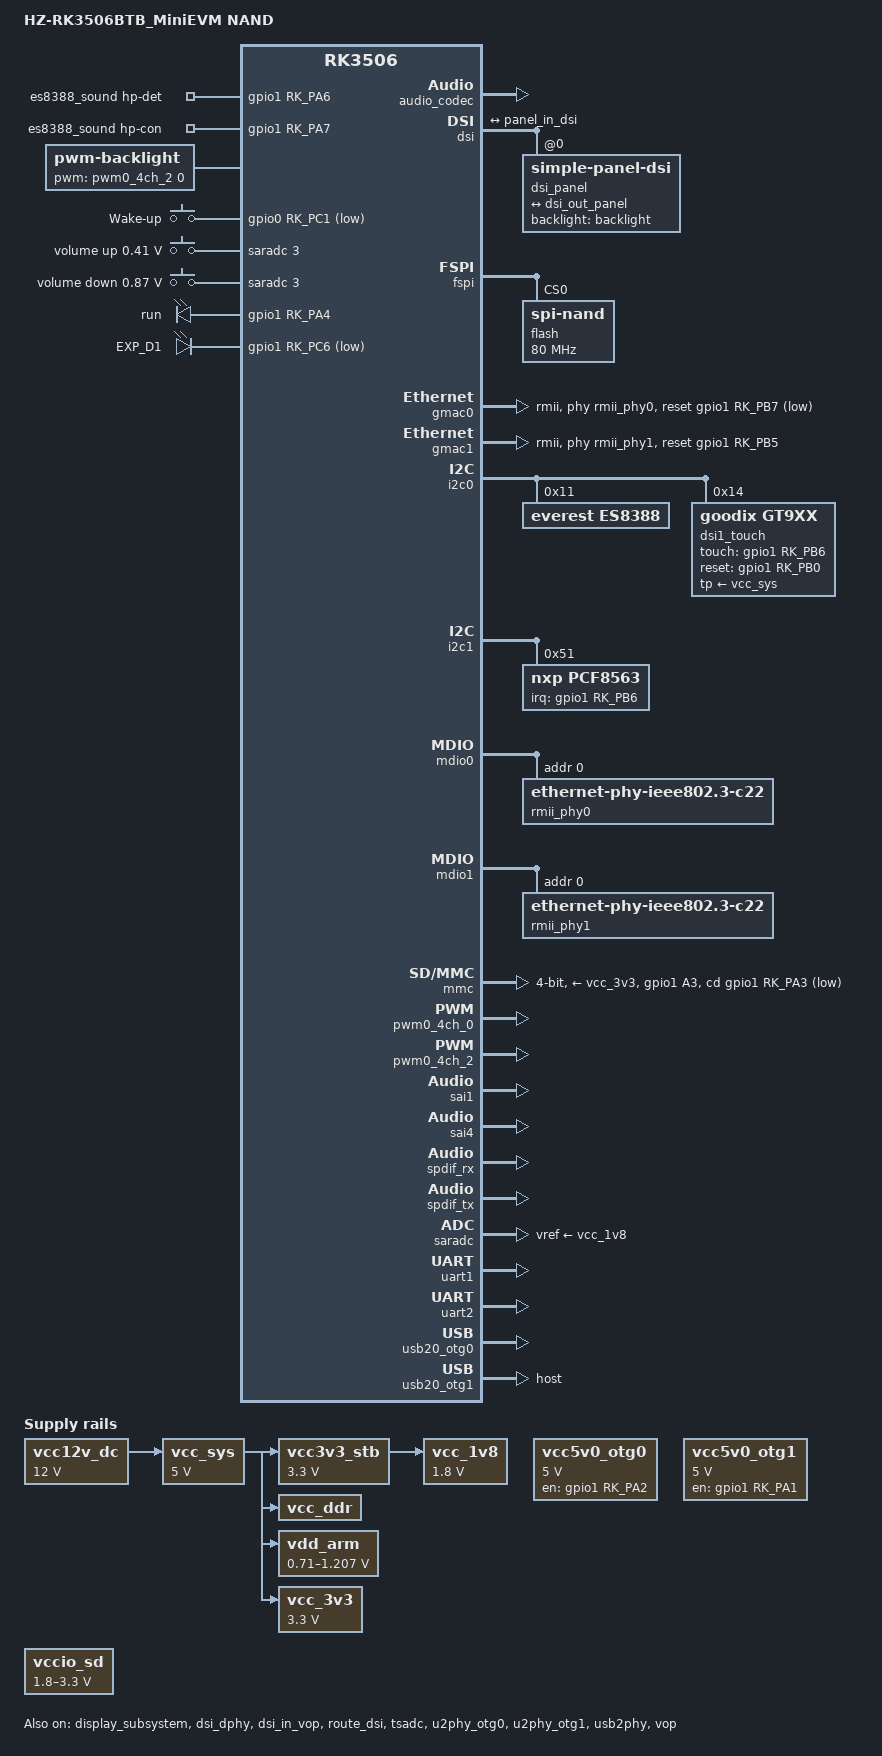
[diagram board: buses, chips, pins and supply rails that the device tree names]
// SPDX-License-Identifier: (GPL-2.0+ OR MIT)
/*
 * Copyright (c) 2025 HZHY Electronics Co., Ltd.
 */

/dts-v1/;

#include <dt-bindings/display/drm_mipi_dsi.h>
#include <dt-bindings/input/input.h>
#include "rk3506.dtsi"

/ {
	model = "HZ-RK3506BTB_MiniEVM NAND";
	compatible = "rockchip,rk3506-evb1-v10", "rockchip,rk3506";
	version = "v1.0.3_20251024";

	chosen {
		bootargs = "earlycon=uart8250,mmio32,0xff0a0000 console=ttyFIQ0 ubi.mtd=5 ubi.block=0,rootfs root=/dev/ubiblock0_0 rootfstype=squashfs rootwait snd_aloop.index=7 snd_aloop.use_raw_jiffies=1 storagemedia=mtd androidboot.storagemedia=mtd androidboot.mode=normal";
	};

	acodec_sound: acodec-sound {
		compatible = "simple-audio-card";
		simple-audio-card,name = "rockchip,acodec";
		simple-audio-card,format = "i2s";
		simple-audio-card,mclk-fs = <1024>;
		simple-audio-card,bitclock-master = <&codec_master>;
		simple-audio-card,frame-master = <&codec_master>;
		simple-audio-card,cpu {
			sound-dai = <&sai4>;
		};
		codec_master: simple-audio-card,codec {
			sound-dai = <&audio_codec>;
		};
	};

	es8388_sound: es8388-sound {
		compatible = "rockchip,multicodecs-card";
		rockchip,card-name = "rockchip-es8388";
		rockchip,pre-power-on-delay-ms = <30>;
		rockchip,post-power-down-delay-ms = <40>;
		rockchip,format = "i2s";
		rockchip,mclk-fs = <256>;
		rockchip,cpu = <&sai1>;
		rockchip,codec = <&es8388>;
		hp-det-gpio = <&gpio1 RK_PA6 GPIO_ACTIVE_HIGH>;
		hp-con-gpio = <&gpio1 RK_PA7 GPIO_ACTIVE_HIGH>;
		keyup-threshold-microvolt = <1800000>;
		poll-interval = <100>;
		rockchip,audio-routing =
			"Headphone", "LOUT1",
			"Headphone", "ROUT1",
			"Headphone", "Headphone Power",
			"Headphone", "Headphone Power",
			"LINPUT1", "Main Mic",
			"LINPUT2", "Main Mic",
			"RINPUT1", "Headset Mic",
			"RINPUT2", "Headset Mic";
		pinctrl-names = "default";
		pinctrl-0 = <&hp_det>;
		status = "okay";

		play-pause-key {
			label = "playpause";
			linux,code = <KEY_PLAYPAUSE>;
			press-threshold-microvolt = <2000>;
		};
	};

	spdif_rx_dc: spdif-rx-dc {
		compatible = "rockchip,dummy-codec";
		#sound-dai-cells = <0>;
	};

	spdif_rx_sound: spdif-rx-sound {
		compatible = "simple-audio-card";
		simple-audio-card,name = "spdif-rx-sound";
		simple-audio-card,cpu {
			sound-dai = <&spdif_rx>;
		};
		simple-audio-card,codec {
			sound-dai = <&spdif_rx_dc>;
		};
	};

	spdif_tx_dc: spdif-tx-dc {
		compatible = "rockchip,dummy-codec";
		#sound-dai-cells = <0>;
	};

	spdif_tx_sound: spdif-tx-sound {
		compatible = "simple-audio-card";
		simple-audio-card,name = "spdif-tx-sound";
		simple-audio-card,mclk-fs = <128>;
		simple-audio-card,cpu {
			sound-dai = <&spdif_tx>;
		};
		simple-audio-card,codec {
			sound-dai = <&spdif_tx_dc>;
		};
	};

	backlight: backlight {
		compatible = "pwm-backlight";
		pwms = <&pwm0_4ch_2 0 25000 0>;
		brightness-levels = <
			  0  20  20  21  21  22  22  23
			 23  24  24  25  25  26  26  27
			 27  28  28  29  29  30  30  31
			 31  32  32  33  33  34  34  35
			 35  36  36  37  37  38  38  39
			 40  41  42  43  44  45  46  47
			 48  49  50  51  52  53  54  55
			 56  57  58  59  60  61  62  63
			 64  65  66  67  68  69  70  71
			 72  73  74  75  76  77  78  79
			 80  81  82  83  84  85  86  87
			 88  89  90  91  92  93  94  95
			 96  97  98  99 100 101 102 103
			104 105 106 107 108 109 110 111
			112 113 114 115 116 117 118 119
			120 121 122 123 124 125 126 127
			128 129 130 131 132 133 134 135
			136 137 138 139 140 141 142 143
			144 145 146 147 148 149 150 151
			152 153 154 155 156 157 158 159
			160 161 162 163 164 165 166 167
			168 169 170 171 172 173 174 175
			176 177 178 179 180 181 182 183
			184 185 186 187 188 189 190 191
			192 193 194 195 196 197 198 199
			200 201 202 203 204 205 206 207
			208 209 210 211 212 213 214 215
			216 217 218 219 220 221 222 223
			224 225 226 227 228 229 230 231
			232 233 234 235 236 237 238 239
			240 241 242 243 244 245 246 247
			248 249 250 251 252 253 254 255
		>;
		default-brightness-level = <200>;
		status = "okay";
	};

	fiq_debugger: fiq-debugger {
		compatible = "rockchip,fiq-debugger";
		rockchip,serial-id = <0>;
		rockchip,wake-irq = <0>;
		rockchip,irq-mode-enable = <1>;
		rockchip,baudrate = <1500000>;
		interrupts = <GIC_SPI 115 IRQ_TYPE_LEVEL_HIGH>;
	};

	gpio_keys: gpio-keys {
		compatible = "gpio-keys";
		pinctrl-names = "default";
		pinctrl-0 = <&key_wake_up>;

		wake_up: wake-up {
			label = "Wake-up";
			gpios = <&gpio0 RK_PC1 GPIO_ACTIVE_LOW>;
			linux,code = <KEY_WAKEUP>;
			wakeup-source;
		};
	};

	user_adc_keys: user-adc-keys {
		compatible = "adc-keys";
		io-channels = <&saradc 3>;
		io-channel-names = "buttons";
		keyup-threshold-microvolt = <1800000>;
		poll-interval = <100>;

		vol-up-key {
			label = "volume up";
			linux,code = <KEY_VOLUMEUP>;
			press-threshold-microvolt = <410000>;
		};

		vol-down-key {
			label = "volume down";
			linux,code = <KEY_VOLUMEDOWN>;
			press-threshold-microvolt = <870000>;
		};
	};

	vcc12v_dc: vcc12v-dc {
		compatible = "regulator-fixed";
		regulator-name = "vcc12v_dc";
		regulator-always-on;
		regulator-boot-on;
		regulator-min-microvolt = <12000000>;
		regulator-max-microvolt = <12000000>;
	};

	vcc_sys: vcc-sys {
		compatible = "regulator-fixed";
		regulator-name = "vcc_sys";
		regulator-always-on;
		regulator-boot-on;
		regulator-min-microvolt = <5000000>;
		regulator-max-microvolt = <5000000>;
		vin-supply = <&vcc12v_dc>;
	};

	vcc3v3_stb: vcc3v3-stb {
		compatible = "regulator-fixed";
		regulator-name = "vcc3v3_stb";
		regulator-always-on;
		regulator-boot-on;
		regulator-min-microvolt = <3300000>;
		regulator-max-microvolt = <3300000>;
		vin-supply = <&vcc_sys>;
	};

	vcc_1v8: vcc-1v8 {
		compatible = "regulator-fixed";
		regulator-name = "vcc_1v8";
		regulator-always-on;
		regulator-boot-on;
		regulator-min-microvolt = <1800000>;
		regulator-max-microvolt = <1800000>;
		vin-supply = <&vcc3v3_stb>;
	};

	vcc_ddr: vcc-ddr {
		compatible = "regulator-fixed";
		regulator-name = "vcc_ddr";
		regulator-always-on;
		regulator-boot-on;
		vin-supply = <&vcc_sys>;
	};

	vdd_arm: vdd-arm {
		compatible = "pwm-regulator";
		pwms = <&pwm0_4ch_0 0 5000 1>;
		regulator-name = "vdd_arm";
		regulator-min-microvolt = <710000>;
		regulator-max-microvolt = <1207000>;
		regulator-init-microvolt = <1011000>;
		regulator-always-on;
		regulator-boot-on;
		regulator-settling-time-up-us = <250>;
		pwm-supply = <&vcc_sys>;
	};

	vcc5v0_otg0: vcc5v0-otg0-regulator {
		compatible = "regulator-fixed";
		regulator-name = "vcc5v0_otg0";
		regulator-min-microvolt = <5000000>;
		regulator-max-microvolt = <5000000>;
		enable-active-high;
		gpio = <&gpio1 RK_PA2 GPIO_ACTIVE_HIGH>;
		pinctrl-names = "default";
		pinctrl-0 = <&vcc5v0_otg0_en>;
	};

	vcc5v0_otg1: vcc5v0-otg1-regulator {
		compatible = "regulator-fixed";
		regulator-name = "vcc5v0_otg1";
		regulator-boot-on;
		regulator-always-on;
		regulator-min-microvolt = <5000000>;
		regulator-max-microvolt = <5000000>;
		enable-active-high;
		gpio = <&gpio1 RK_PA1 GPIO_ACTIVE_HIGH>;
		pinctrl-names = "default";
		pinctrl-0 = <&vcc5v0_otg1_en>;
	};

	vcc_3v3: vcc-3v3 {
		compatible = "regulator-fixed";
		regulator-name = "vcc_3v3";
		regulator-always-on;
		regulator-boot-on;
		regulator-min-microvolt = <3300000>;
		regulator-max-microvolt = <3300000>;
		vin-supply = <&vcc_sys>;
	};

	vccio_sd: vccio-sd-regulator {
		compatible = "regulator-gpio";
		regulator-name = "vccio-sd-regulator";
		regulator-boot-on;
		regulator-always-on;
		enable-active-high;
		regulator-min-microvolt = <1800000>;
		regulator-max-microvolt = <3300000>;
		gpios-states = <0>;
		states = <3300000 0x1>,
			 <1800000 0x0>;
	};

	leds: leds {
		compatible = "gpio-leds";
		status = "okay";

		run_led: run-led {
			label = "run";
			gpios = <&gpio1 RK_PA4 GPIO_ACTIVE_HIGH>;
			linux,default-trigger = "heartbeat";
			default-state = "on";
		};

		EXP_D1: EXP_D1 {
			label = "EXP_D1";
			gpios = <&gpio1 RK_PC6 GPIO_ACTIVE_LOW>;
			default-state = "on";
		};
	};
};

&audio_codec {
	status = "okay";
};

&cma {
	size = <0x1600000>;
};

&cpu0 {
	cpu-supply = <&vdd_arm>;
};

&display_subsystem {
	status = "okay";
};

&dsi {
	status = "okay";
	rockchip,lane-rate = <1000>;
	dsi_panel: panel@0 {
		status = "okay";
		compatible = "simple-panel-dsi";
		pinctrl-names = "default";
		reg = <0>;
		backlight = <&backlight>;
		reset-delay-ms = <150>;
		enable-delay-ms = <120>;
		prepare-delay-ms = <50>;
		unprepare-delay-ms = <20>;
		disable-delay-ms = <20>;
		init-delay-ms = <150>;
		dsi,flags = <(MIPI_DSI_MODE_VIDEO | MIPI_DSI_MODE_VIDEO_BURST |
			      MIPI_DSI_MODE_LPM | MIPI_DSI_MODE_NO_EOT_PACKET)>;
		dsi,format = <MIPI_DSI_FMT_RGB888>;
		dsi,lanes  = <2>;
		panel-init-sequence = [
		39 00 04 B9 FF 83 94
		15 00 02 36 01
		39 00 07 BA 61 03 68 6B B2 C0
		39 00 0B B1 48 12 72 09 32 54 71 71 57 47
		39 00 07 B2 00 80 64 0C 0D 2F
		39 00 16 B4 73 74 73 74 73 74 01 0C 86 75 00 3F 73 74 73 74 73 74 01 0C 86
		39 00 03 B6 6E 6E
		39 00 22 D3 00 00 07 07 40 07 0C 00 08 10 08 00 08 54 15 0A 05 0A 02 15 06 05 06 47 44 0A 0A 4B 10 07 07 0C 40
		39 00 2D D5 1C 1C 1D 1D 00 01 02 03 04 05 06 07 08 09 0A 0B 24 25 18 18 26 27 18 18 18 18 18 18 18 18 18 18 18 18 18 18 18 18 20 21 18 18 18 18
		39 00 2D D6 1C 1C 1D 1D 07 06 05 04 03 02 01 00 0B 0A 09 08 21 20 18 18 27 26 18 18 18 18 18 18 18 18 18 18 18 18 18 18 18 18 25 24 18 18 18 18
		39 00 3B E0 00 0A 15 1B 1E 21 24 22 47 56 65 66 6E 82 88 8B 9A 9D 98 A8 B9 5D 5C 61 66 6A 6F 7F 7F 00 0A 15 1B 1E 21 24 22 47 56 65 65 6E 81 87 8B 98 9D 99 A8 BA 5D 5D 62 67 6B 72 7F 7F
		39 00 03 C0 1F 31
		15 00 02 CC 03
		15 00 02 D4 02
		15 00 02 BD 02
		39 00 0D D8 FF FF FF FF FF FF FF FF FF FF FF FF
		15 00 02 BD 00
		15 00 02 BD 01
		15 00 02 B1 00
		15 00 02 BD 00
		39 00 08 BF 40 81 50 00 1A FC 01
		15 00 02 C6 ED
		05 64 01 11
		05 78 01 29
		];


		disp_timings0: display-timings {
			native-mode = <&dsi_timing0>;
			dsi_timing0: timing0 {
				clock-frequency = <65000000>;
				hactive = <720>;
				vactive = <1280>;
				hfront-porch = <48>;
				hsync-len = <8>;
				hback-porch = <52>;
				vfront-porch = <16>;
				vsync-len = <6>;
				vback-porch = <15>;
				hsync-active = <0>;
				vsync-active = <0>;
				de-active = <0>;
				pixelclk-active = <0>;
			};
		};

		ports {
			#address-cells = <1>;
			#size-cells = <0>;

			port@0 {
				reg = <0>;
				panel_in_dsi: endpoint {
					remote-endpoint = <&dsi_out_panel>;
					status = "okay";
				};
			};
		};
	};

	ports {
		#address-cells = <1>;
		#size-cells = <0>;

		port@1 {
			reg = <1>;
			dsi_out_panel: endpoint {
				remote-endpoint = <&panel_in_dsi>;
			};
		};
	};
};


&dsi_dphy {
	status = "okay";
};

&dsi_in_vop {
	status = "okay";
};

&fspi {
	status = "okay";

	flash@0 {
		compatible = "spi-nand";
		reg = <0>;
		spi-max-frequency = <80000000>;
		spi-rx-bus-width = <4>;
		spi-tx-bus-width = <1>;
	};
};

&gmac0 {
	phy-mode = "rmii";
	clock_in_out = "input";
	snps,reset-gpio = <&gpio1 RK_PB7 GPIO_ACTIVE_LOW>;
	snps,reset-active-low;
	snps,reset-delays-us = <20000 20000 20000>;
	pinctrl-names = "default";
	pinctrl-0 = <&eth_rmii0_miim_pins &eth_rmii0_tx_bus2_pins
			     &eth_rmii0_rx_bus2_pins &eth_rmii0_clk_pins>;
	phy-handle = <&rmii_phy0>;
	status = "okay";
};

&gmac1 {
	phy-mode = "rmii";
	clock_in_out = "input";
	snps,reset-gpio = <&gpio1 RK_PB5 GPIO_ACTIVE_HIGH>;
	snps,reset-active-high;
	snps,reset-delays-us = <20000 20000 20000>;
	pinctrl-names = "default";
	pinctrl-0 = <&eth_rmii1_miim_pins &eth_rmii1_tx_bus2_pins
			     &eth_rmii1_rx_bus2_pins &eth_rmii1_clk_pins>;
	phy-handle = <&rmii_phy1>;
	status = "okay";
};

&i2c0 {
	status = "okay";
	pinctrl-names = "default";
	pinctrl-0 = <&rm_io25_i2c0_scl &rm_io26_i2c0_sda>;

	es8388: es8388@11 {
		status = "okay";
		#sound-dai-cells = <0>;
		compatible = "everest,es8388", "everest,es8323";
		reg = <0x11>;
		clocks = <&mclkout_sai1>;
		clock-names = "mclk";
		assigned-clocks = <&mclkout_sai1>;
		assigned-clock-rates = <12288000>;
		pinctrl-names = "default";
		pinctrl-0 = <&rm_io8_sai1_mclk>;
		record-src = "linein", "mic";
		playback-src = "dac";
	};

	dsi1_touch: gt9xx@14 {
		compatible = "goodix,gt9xx";
		reg = <0x14>;
		touch-gpio = <&gpio1 RK_PB6 IRQ_TYPE_LEVEL_LOW>;
		reset-gpio = <&gpio1 RK_PB0 GPIO_ACTIVE_HIGH>;
		max-x = <720>;
		max-y = <1280>;
		tp-size = <911>;
		tp-supply = <&vcc_sys>;
		wakeup-source;
		goodix-ts-name = "dsi1_ts_gt9xx";
		status = "okay";
	};
	/delete-node/ gt1x;
};

&i2c1 {
	status = "okay";
	pinctrl-names = "default";
	pinctrl-0 = <&rm_io28_i2c1_scl &rm_io27_i2c1_sda>;

	pcf8563: pcf8563@51 {
		compatible = "nxp,pcf8563";
		reg = <0x51>;
		pinctrl-names = "default";
		pinctrl-0 = <&at8563_int>;
		interrupt-parent = <&gpio1>;
		interrupts = <RK_PB6 IRQ_TYPE_LEVEL_LOW>;
	};
};

&mdio0 {
	rmii_phy0: phy@0 {
		compatible = "ethernet-phy-ieee802.3-c22";
		reg = <0x0>;
	};
};

&mdio1 {
	rmii_phy1: phy@0 {
		compatible = "ethernet-phy-ieee802.3-c22";
		reg = <0x0>;
	};
};

&mmc {
	/delete-property/ no-sd;
	/delete-property/ ignore-pm-notify;
	/delete-property/ keep-power-in-suspend;
	/delete-property/ non-removable;
	/delete-property/ mmc-pwrseq;
	cap-mmc-highspeed;
	cap-sd-highspeed;
	sd-uhs-sdr104;
	bus-width = <4>;
	no-sdio;
	no-mmc;
	cd-gpios = <&gpio1 RK_PA3 GPIO_ACTIVE_LOW>;
	disable-wp;
	pinctrl-names = "default";
	pinctrl-0 = <&sdmmc_clk_pins &sdmmc_cmd_pins &sdmmc_bus4_pins &sd_det>;
	vmmc-supply = <&vcc_3v3>;
	vqmmc-supply = <&vccio_sd>;
	status = "okay";
};

&pwm0_4ch_0 {
	pinctrl-names = "active";
	pinctrl-0 = <&rm_io21_pwm0_ch0>;
	status = "okay";
};

&pwm0_4ch_2 {
	status = "okay";
	pinctrl-names = "active";
	pinctrl-0 = <&rm_io18_pwm0_ch2>;
};

&route_dsi {
	status = "okay";
};

&sai1 {
	pinctrl-names = "default", "sleep";
	pinctrl-0 = <&rm_io9_sai1_sclk &rm_io10_sai1_lrck
			     &rm_io11_sai1_sdi &rm_io12_sai1_sdo0>;
	pinctrl-1 = <&rm_io9_idle_pins &rm_io10_idle_pins
			     &rm_io11_idle_pins &rm_io12_idle_pins>;
	status = "okay";
};

&sai4 {
	status = "okay";
};

&spdif_rx {
	pinctrl-names = "default";
	pinctrl-0 = <&rm_io4_spdif_rx>;
	status = "okay";
};

&spdif_tx {
	pinctrl-names = "default";
	pinctrl-0 = <&rm_io5_spdif_tx>;
	status = "okay";
};

&saradc {
	vref-supply = <&vcc_1v8>;
	status = "okay";
};

&tsadc {
	status = "okay";
};

&uart1 {
	pinctrl-names = "default";
	pinctrl-0 = <&rm_io3_uart1_tx &rm_io2_uart1_rx>;
	dma-names = "tx", "rx";
	status = "okay";
};

&uart2 {
	pinctrl-names = "default";
	pinctrl-0 = <&rm_io24_uart2_tx &rm_io16_uart2_rx>;
	dma-names = "tx", "rx";
	status = "okay";
};

&uart3 {
	status = "disabled";
};

&u2phy_otg0 {
	vbus-supply = <&vcc5v0_otg0>;
	status = "okay";
};

&u2phy_otg1 {
	phy-supply = <&vcc5v0_otg1>;
	status = "okay";
};

&usb2phy {
	status = "okay";
};

&usb20_otg0 {
	status = "okay";
};

&usb20_otg1 {
	dr_mode = "host";
	status = "okay";
};

&vop {
	status = "okay";
};

&vop_out_rgb {
	/delete-property/ remote-endpoint;
};

&pinctrl {
	at8563 {
		at8563_int: at8563-int {
			rockchip,pins = <1 RK_PB6 RK_FUNC_GPIO &pcfg_pull_up>;
		};
	};

	gpio-keys {
		key_wake_up: key-wake-up {
			rockchip,pins = <0 RK_PC1 RK_FUNC_GPIO &pcfg_pull_none>;
		};
	};

	headphone {
		hp_det: hp-det {
			rockchip,pins = <1 RK_PA6 RK_FUNC_GPIO &pcfg_pull_none>;
		};
	};

	sdmmc {
		sd_det: sd-det {
			rockchip,pins = <1 RK_PA3 RK_FUNC_GPIO &pcfg_pull_up>;
		};
	};

	usb {
		vcc5v0_otg0_en: vcc5v0-otg0-en {
			rockchip,pins = <1 RK_PA2 RK_FUNC_GPIO &pcfg_pull_none>;
		};

		vcc5v0_otg1_en: vcc5v0-otg1-en {
			rockchip,pins = <1 RK_PA1 RK_FUNC_GPIO &pcfg_pull_none>;
		};
	};

};
